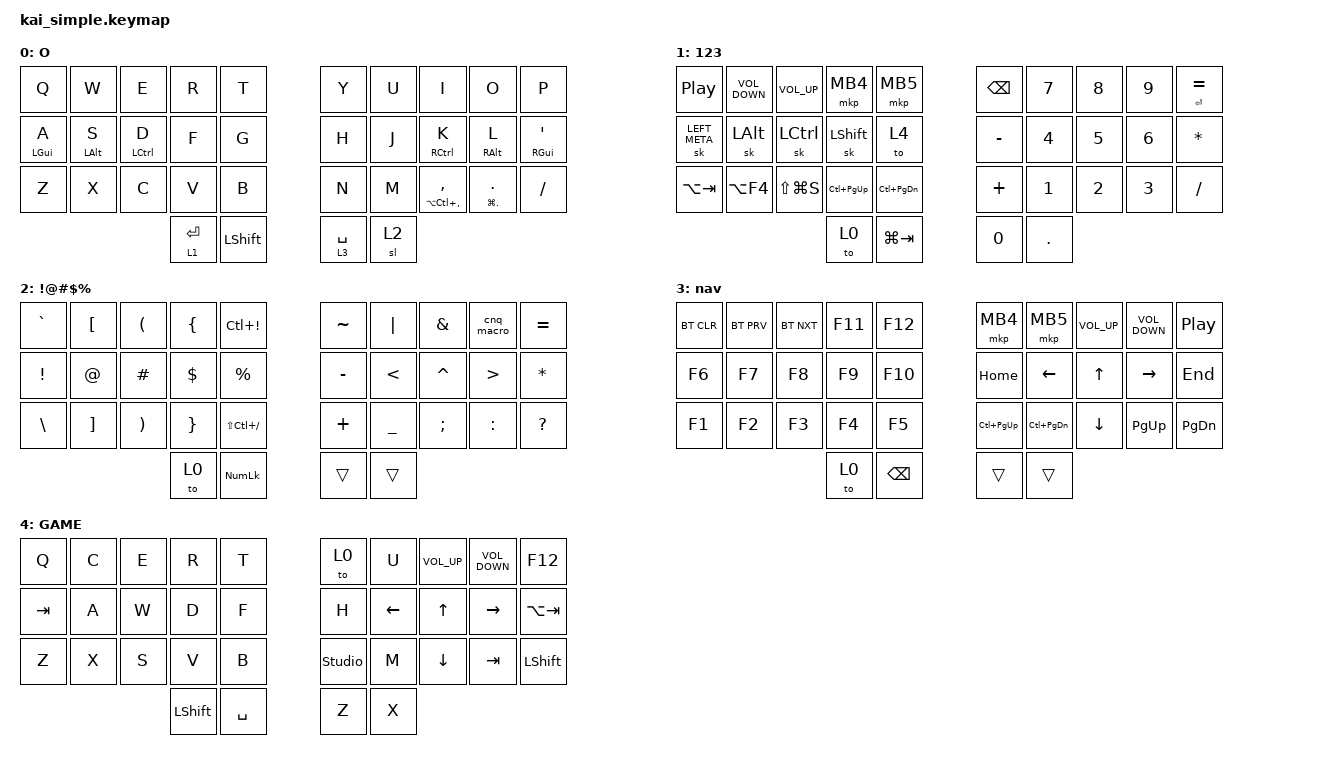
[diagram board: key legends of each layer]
// Copyright (c) 2022 The ZMK Contributors
// SPDX-License-Identifier: MIT

#include <dt-bindings/zmk/mouse.h>
#include <behaviors.dtsi>
#include <dt-bindings/zmk/bt.h>
#include <dt-bindings/zmk/keys.h>
#include <dt-bindings/zmk/pointing.h>

&mt {
    //  flavor = "tap-preferred";
    // tapping_term_ms = <200>;

    flavor = "balanced";
    tapping-term-ms = <170>;
};

&sk {
    quick-release;

    // ignore-modifiers;
};

&sl { release-after-ms = <1500>; };

/ {
    combos {
        compatible = "zmk,combos";

        combo_esc {
            timeout-ms = <50>;
            key-positions = <1 0>;
            bindings = <&kp ESC>;
        };

        combo_tab {
            timeout-ms = <50>;
            key-positions = <21 22>;
            bindings = <&kp TAB>;
            layers = <0 1 2 3>;
        };

        combo_return {
            timeout-ms = <50>;
            key-positions = <27 28>;
            bindings = <&kp RETURN>;
        };

        combo_manager {
            timeout-ms = <50>;
            key-positions = <0 2>;
            bindings = <&kp LS(LC(ESCAPE))>;
        };

        combo_highlight {
            timeout-ms = <50>;
            key-positions = <16 19>;
            bindings = <&highlight_macro>;
            layers = <0 1 2 3>;
        };

        combo_toggle1 {
            bindings = <&tog 1>;
            key-positions = <30 31>;
            layers = <0 1 2 3>;
        };

        combo_toggle3 {
            bindings = <&tog 3>;
            key-positions = <32 33>;
            layers = <0 1 2 3>;
        };

        combo_backspace_1 {
            bindings = <&kp BACKSPACE>;
            key-positions = <11 12>;
            timeout-ms = <30>;
            layers = <0 1 2 3>;
        };

        combo_delete_2 {
            bindings = <&kp DELETE>;
            key-positions = <12 13>;
            timeout-ms = <30>;
            layers = <0 1 2 3>;
        };

        combo_backspace_2 {
            bindings = <&kp BACKSPACE>;
            key-positions = <16 17>;
            layers = <0 1 2 3>;
            timeout-ms = <30>;
        };

        combo_delete_1 {
            bindings = <&kp DELETE>;
            key-positions = <17 18>;
            layers = <0 1 2 3>;
            timeout-ms = <30>;
        };

        combo_copy {
            bindings = <&kp LC(C)>;
            key-positions = <22 23>;
            layers = <0 1 2 3>;
        };
    };

    macros {
        cnq_macro: cnq_macro {
            compatible = "zmk,behavior-macro";
            #binding-cells = <0>;
            bindings = <&kp GRAVE &kp LBKT &kp GRAVE &kp RIGHT_BRACKET &kp LEFT_ARROW &kp LEFT_ARROW &kp DOWN_ARROW &kp DOWN_ARROW>;
            label = "CNQ_MACRO";
        };

        highlight_macro: highlight_macro {
            compatible = "zmk,behavior-macro";
            #binding-cells = <0>;
            bindings = <&kp HOME &kp LS(END)>;
            label = "HIGHLIGHT_MACRO";
        };
    };

    behaviors {
        holdtap_comma: holdtap_comma {
            compatible = "zmk,behavior-hold-tap";
            label = "HOLDTAP_COMMA";
            bindings = <&kp>, <&kp>;

            #binding-cells = <2>;
            tapping-term-ms = <200>;
            hold-trigger-key-positions = <29>;
            flavor = "hold-preferred";
        };

        holdtap_period: holdtap_period {
            compatible = "zmk,behavior-hold-tap";
            label = "HOLDTAP_PERIOD";
            bindings = <&kp>, <&kp>;

            #binding-cells = <2>;
            tapping-term-ms = <200>;
            hold-trigger-key-positions = <30>;
        };

        holdtap_equal_enter: holdtap_equal_enter {
            compatible = "zmk,behavior-hold-tap";
            label = "HOLDTAP_EQUAL_ENTER";
            bindings = <&kp>, <&kp>;

            #binding-cells = <2>;
            tapping-term-ms = <200>;
            hold-trigger-key-positions = <21>;
        };
    };

    keymap {
        compatible = "zmk,keymap";

        default_layer {
            display-name = "O";
            bindings = <
&kp Q           &kp W           &kp E               &kp R        &kp T           &kp Y        &kp U  &kp I                               &kp O                              &kp P
&mt LEFT_GUI A  &mt LEFT_ALT S  &mt LEFT_CONTROL D  &kp F        &kp G           &kp H        &kp J  &mt RIGHT_CONTROL K                 &mt RIGHT_ALT L                    &mt RIGHT_GUI SQT
&kp Z           &kp X           &kp C               &kp V        &kp B           &kp N        &kp M  &holdtap_comma LA(LC(COMMA)) COMMA  &holdtap_period LG(PERIOD) PERIOD  &kp FSLH
                                                    &lt 1 ENTER  &kp LEFT_SHIFT  &lt 3 SPACE  &sl 2
            >;
        };

        num_layer {
            display-name = "123";
            bindings = <
&kp C_PLAY_PAUSE  &kp C_VOLUME_DOWN  &kp C_VOLUME_UP   &mkp MB4         &mkp MB5           &kp BACKSPACE  &kp N7        &kp N8        &kp N9        &holdtap_equal_enter ENTER EQUAL
&sk LEFT_META     &sk LEFT_ALT       &sk LEFT_CONTROL  &sk LEFT_SHIFT   &to 4              &kp MINUS      &kp NUMBER_4  &kp N5        &kp NUMBER_6  &kp ASTERISK
&kp LA(TAB)       &kp LA(F4)         &kp LS(LG(S))     &kp LC(PAGE_UP)  &kp LC(PAGE_DOWN)  &kp PLUS       &kp NUMBER_1  &kp NUMBER_2  &kp NUMBER_3  &kp FSLH
                                                       &to 0            &kp LG(TAB)        &kp N0         &kp DOT
            >;
        };

        symbol_layer {
            display-name = "!@#$%";
            bindings = <
&kp GRAVE        &kp LEFT_BRACKET   &kp LEFT_PARENTHESIS   &kp LEFT_BRACE   &kp LC(EXCLAMATION)  &kp TILDE  &kp PIPE        &kp AMPERSAND  &cnq_macro        &kp EQUAL
&kp EXCLAMATION  &kp AT_SIGN        &kp HASH               &kp DOLLAR       &kp PERCENT          &kp MINUS  &kp LESS_THAN   &kp CARET      &kp GREATER_THAN  &kp ASTERISK
&kp BACKSLASH    &kp RIGHT_BRACKET  &kp RIGHT_PARENTHESIS  &kp RIGHT_BRACE  &kp LS(LC(SLASH))    &kp PLUS   &kp UNDERSCORE  &kp SEMICOLON  &kp COLON         &kp QUESTION
                                                           &to 0            &kp KP_NUM           &trans     &trans
            >;
        };

        nav_layer {
            display-name = "nav";
            bindings = <
&bt BT_CLR  &bt BT_PRV  &bt BT_NXT  &kp F11  &kp F12        &mkp MB4         &mkp MB5           &kp C_VOLUME_UP  &kp C_VOLUME_DOWN  &kp C_PLAY_PAUSE
&kp F6      &kp F7      &kp F8      &kp F9   &kp F10        &kp HOME         &kp LEFT           &kp UP           &kp RIGHT          &kp END
&kp F1      &kp F2      &kp F3      &kp F4   &kp F5         &kp LC(PAGE_UP)  &kp LC(PAGE_DOWN)  &kp DOWN         &kp PAGE_UP        &kp PAGE_DOWN
                                    &to 0    &kp BACKSPACE  &trans           &trans
            >;
        };

        gaming_layer {
            display-name = "GAME";
            bindings = <
&kp Q    &kp C  &kp E  &kp R       &kp T      &to 0           &kp U     &kp C_VOLUME_UP  &kp C_VOLUME_DOWN  &kp F12
&kp TAB  &kp A  &kp W  &kp D       &kp F      &kp H           &kp LEFT  &kp UP           &kp RIGHT          &kp LA(TAB)
&kp Z    &kp X  &kp S  &kp V       &kp B      &studio_unlock  &kp M     &kp DOWN         &kp TAB            &kp LSHIFT
                       &kp LSHIFT  &kp SPACE  &kp Z           &kp X
            >;
        };

        _EXTRA1 { status = "reserved"; };

        _EXTRA2 { status = "reserved"; };
    };
};
